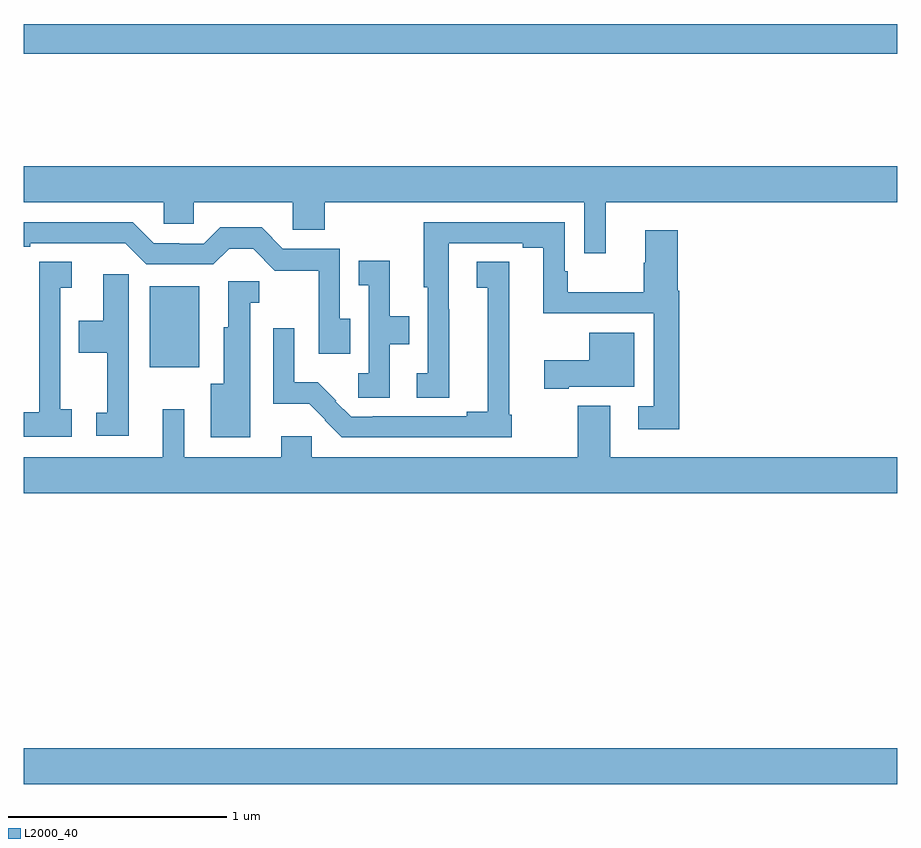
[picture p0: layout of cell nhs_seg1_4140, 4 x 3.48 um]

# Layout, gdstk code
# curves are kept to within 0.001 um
import gdstk
lib = gdstk.Library(unit=1e-6, precision=1e-09)
def R(c, l, rs):  # rectangles x0, y0, x1, y1
    for r in rs: c.add(gdstk.rectangle(r[:2], r[2:], *l))
def P(c, l, *ps):  # polygons
    for p in ps: c.add(gdstk.Polygon(p, *l))
L2000_40 = (2000, 40)

nhs_seg1_4140 = lib.new_cell('nhs_seg1_4140')
R(nhs_seg1_4140, L2000_40, [(337,514.436,341,514.6), (337.577,516.344,337.804,516.715), (337,517.78,341,517.916)])
P(nhs_seg1_4140, L2000_40, [(339.665,517.1),(341,517.1),(341,517.264),(337,517.264),(337,517.1),(337.641,517.1),(337.641,517.002),(337.779,517.002),(337.779,517.1),(338.232,517.1),(338.232,516.973),(338.379,516.973),(338.379,517.1),(339.567,517.1),(339.567,516.867),(339.665,516.867)],
  [(338.495,516.566),(338.448,516.566),(338.448,516.888),(338.187,516.888),(338.09,516.985),(337.9,516.985),(337.824,516.909),(337.712,516.909),(337.712,516.912),(337.596,516.912),(337.5,517.008),(337,517.008),(337,516.897),(337.03,516.897),(337.03,516.912),(337.465,516.911),(337.56,516.816),(337.869,516.816),(337.94,516.888),(338.05,516.888),(338.15,516.787),(338.352,516.787),(338.352,516.405),(338.495,516.405)],
  [(340.001,516.694),(339.995,516.694),(339.995,516.972),(339.845,516.972),(339.845,516.822),(339.838,516.822),(339.838,516.688),(339.49,516.688),(339.49,516.784),(339.477,516.784),(339.477,517.008),(338.831,517.008),(338.831,516.711),(338.85,516.711),(338.85,516.316),(338.799,516.316),(338.799,516.205),(338.948,516.205),(338.948,516.611),(338.946,516.611),(338.946,516.912),(339.284,516.912),(339.284,516.892),(339.38,516.892),(339.38,516.591),(339.885,516.591),(339.885,516.165),(339.813,516.165),(339.813,516.06),(340.001,516.06)],
  [(338.676,516.45),(338.765,516.45),(338.765,516.578),(338.677,516.578),(338.677,516.832),(338.533,516.832),(338.533,516.719),(338.58,516.719),(338.58,516.316),(338.531,516.316),(338.531,516.205),(338.676,516.205)],
  [(337.219,516.151),(337.167,516.151),(337.167,516.709),(337.219,516.709),(337.219,516.827),(337.071,516.827),(337.071,516.719),(337.07,516.719),(337.07,516.138),(337,516.138),(337,516.027),(337.219,516.027)],
  [(339.235,516.127),(339.223,516.127),(339.223,516.827),(339.075,516.827),(339.075,516.709),(339.125,516.709),(339.125,516.14),(339.029,516.14),(339.029,516.12),(338.599,516.12),(338.599,516.117),(338.499,516.117),(338.427,516.189),(338.43,516.192),(338.347,516.275),(338.238,516.275),(338.238,516.523),(338.142,516.523),(338.142,516.177),(338.308,516.177),(338.381,516.104),(338.378,516.101),(338.456,516.024),(339.235,516.024)],
  [(337.48,516.769),(337.364,516.769),(337.364,516.558),(337.252,516.558),(337.252,516.41),(337.382,516.41),(337.382,516.135),(337.332,516.135),(337.332,516.03),(337.48,516.03)],
  [(338.038,516.639),(338.079,516.639),(338.079,516.738),(337.937,516.738),(337.937,516.528),(337.916,516.528),(337.916,516.268),(337.856,516.268),(337.856,516.023),(338.038,516.023)],
  [(339.496,516.254),(339.796,516.254),(339.796,516.502),(339.59,516.502),(339.59,516.376),(339.384,516.376),(339.384,516.246),(339.496,516.246)],
  [(341,515.932),(339.685,515.932),(339.685,516.169),(339.538,516.169),(339.538,515.932),(338.319,515.932),(338.319,516.028),(338.18,516.028),(338.18,515.932),(337.734,515.932),(337.734,516.151),(337.637,516.151),(337.637,515.932),(337,515.932),(337,515.768),(341,515.768)])

lib.write_gds('nhs_seg1_4140.gds')
